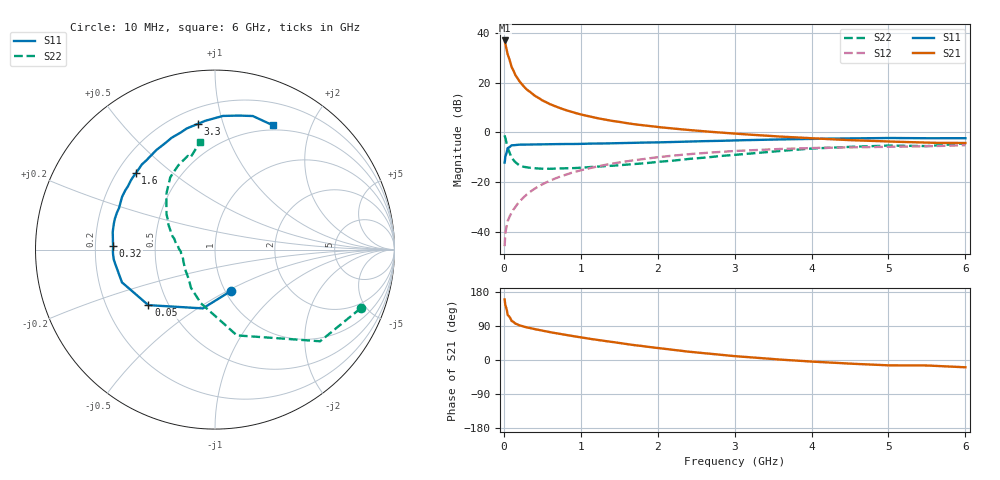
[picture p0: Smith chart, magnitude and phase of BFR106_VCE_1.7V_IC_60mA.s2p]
! Infineon Technologies  Discrete & RF Semiconductors
! BFR106
! VCE =  1.7 V,  IC =  60 mA
! Common Emitter S-Parameters:  Nov 2015
# GHz  S  MA  R  50
!  f  S11  S21  S12  S22
! GHz  MAG  ANG  MAG  ANG  MAG  ANG  MAG  ANG
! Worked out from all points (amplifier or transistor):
!   210 points, 10 MHz to 6 GHz, reference 50 ohm
!   highest |S21| = 37.1 dB at 10 MHz (marker M1)
!   |S21| within 3 dB of that: start of sweep to 32.29 MHz
!   unconditionally stable (mu >= 1): 200.5 MHz to 2.91 GHz; 4.697 GHz to 4.878 GHz; 5.02 GHz to end of sweep
!   at 185 MHz: K = 0.98, MSG = 25.0 dB, |S12| = -28.6 dB
!   at 1.52 GHz: K = 1.06, MAG = 6.6 dB, |S12| = -12.0 dB
!   at 6 GHz: K = 1.01, MAG = -0.3 dB, |S12| = -5.1 dB
!   S11 on the Smith chart (normalised r, x): 10 MHz: 1.07, -0.52; 50 MHz: 0.39, -0.31; 320 MHz: 0.28, +0.02; 1.6 GHz: 0.28, +0.38; 3.3 GHz: 0.30, +0.83; 6 GHz: 0.44, +1.48
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0.01  0.2464 -68.1  71.55 159.9  0.0051 77.4  0.8754 -21.9
0.02  0.3345 -101.7  61.62 144.4  0.0094 64.3  0.777 -41.1
0.05  0.4835 -140.2  37.51 118.8  0.0163 58.4  0.4933 -75.7
0.1  0.5496 -160.6  21.02 103.3  0.024 62.5  0.3091 -104.7
0.15  0.5582 -169.6  14.32 96.0  0.0319 65.6  0.2515 -122.1
0.2  0.5669 -174.5  10.9 91.7  0.0396 67.8  0.2181 -132.6
0.24  0.5686 -177.5  9.148 89.1  0.0463 69.3  0.2065 -140.0
0.26  0.5689 -178.7  8.429 87.9  0.0497 69.9  0.2028 -143.1
0.3  0.5678 179.1  7.297 85.8  0.0565 71.1  0.198 -147.5
0.32  0.5684 178.0  6.941 85.1  0.0599 71.2  0.196 -149.3
0.4  0.573 173.8  5.53 81.4  0.0733 71.4  0.19 -156.7
0.5  0.5783 170.2  4.438 77.4  0.09 71.1  0.1855 -162.9
0.6  0.5815 166.4  3.717 73.4  0.1068 70.3  0.1851 -166.6
0.8  0.584 159.6  2.833 66.2  0.1396 67.7  0.1903 -173.8
1.02  0.5905 152.5  2.269 59.2  0.1756 64.6  0.1956 -179.0
1.6  0.6124 136.1  1.537 41.9  0.2629 54.8  0.2253 168.9
2.02  0.6314 125.3  1.279 31.2  0.3187 47.3  0.2567 160.4
3.1  0.6971 101.3  0.926 8.8  0.4298 29.2  0.3639 138.0
3.3  0.7071 97.7  0.883 5.6  0.4446 26.0  0.3877 134.2
4.1  0.7476 85.3  0.75 -5.2  0.4894 14.2  0.4804 120.0
5.1  0.7712 73.1  0.65 -14.2  0.518 2.7  0.5411 105.9
6  0.7651 65.0  0.613 -19.2  0.553 -6.2  0.6029 98.1
